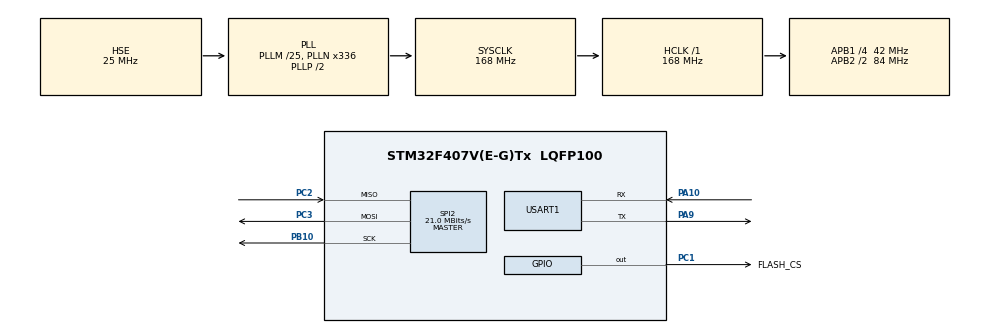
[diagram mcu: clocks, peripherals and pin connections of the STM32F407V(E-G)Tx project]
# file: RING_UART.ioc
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Dma.Request0=USART1_RX
Dma.USART1_RX.0.Direction=DMA_PERIPH_TO_MEMORY
Dma.USART1_RX.0.FIFOMode=DMA_FIFOMODE_DISABLE
Dma.USART1_RX.0.Instance=DMA2_Stream2
Dma.USART1_RX.0.MemDataAlignment=DMA_MDATAALIGN_BYTE
Dma.USART1_RX.0.MemInc=DMA_MINC_ENABLE
Dma.USART1_RX.0.Mode=DMA_CIRCULAR
Dma.USART1_RX.0.PeriphDataAlignment=DMA_PDATAALIGN_BYTE
Dma.USART1_RX.0.PeriphInc=DMA_PINC_DISABLE
Dma.USART1_RX.0.Priority=DMA_PRIORITY_LOW
Mcu.Family=STM32F4
Mcu.Name=STM32F407V(E-G)Tx
Mcu.Package=LQFP100
NVIC.DMA2_Stream2_IRQn=true\:0\:0\:false\:false\:true\:false\:true\:true
NVIC.PriorityGroup=NVIC_PRIORITYGROUP_4
NVIC.USART1_IRQn=true\:0\:0\:false\:false\:true\:true\:true\:true
PA10.Mode=Asynchronous
PA10.Signal=USART1_RX
PA13.Mode=Serial_Wire
PA13.Signal=SYS_JTMS-SWDIO
PA14.Mode=Serial_Wire
PA14.Signal=SYS_JTCK-SWCLK
PA9.Mode=Asynchronous
PA9.Signal=USART1_TX
PB10.Mode=Full_Duplex_Master
PB10.Signal=SPI2_SCK
PC1.GPIO_Label=FLASH_CS
PC1.GPIO_PuPd=GPIO_PULLUP
PC1.Signal=GPIO_Output
PC2.Mode=Full_Duplex_Master
PC2.Signal=SPI2_MISO
PC3.Mode=Full_Duplex_Master
PC3.Signal=SPI2_MOSI
PH0-OSC_IN.Mode=HSE-External-Oscillator
PH0-OSC_IN.Signal=RCC_OSC_IN
PH1-OSC_OUT.Mode=HSE-External-Oscillator
PH1-OSC_OUT.Signal=RCC_OSC_OUT
ProjectManager.HeapSize=0x200
ProjectManager.StackSize=0x400
ProjectManager.TargetToolchain=CMake
RCC.48MHZClocksFreq_Value=84000000
RCC.AHBFreq_Value=168000000
RCC.APB1CLKDivider=RCC_HCLK_DIV4
RCC.APB1Freq_Value=42000000
RCC.APB1TimFreq_Value=84000000
RCC.APB2CLKDivider=RCC_HCLK_DIV2
RCC.APB2Freq_Value=84000000
RCC.APB2TimFreq_Value=168000000
RCC.CortexFreq_Value=168000000
RCC.HCLKFreq_Value=168000000
RCC.HSE_VALUE=25000000
RCC.HSI_VALUE=16000000
RCC.LSE_VALUE=32768
RCC.PLLM=25
RCC.PLLN=336
RCC.PLLSourceVirtual=RCC_PLLSOURCE_HSE
RCC.SYSCLKFreq_VALUE=168000000
RCC.SYSCLKSource=RCC_SYSCLKSOURCE_PLLCLK
RCC.VCOOutputFreq_Value=336000000
SPI2.CalculateBaudRate=21.0 MBits/s
SPI2.Direction=SPI_DIRECTION_2LINES
SPI2.Mode=SPI_MODE_MASTER
SPI2.VirtualType=VM_MASTER
USART1.VirtualMode=VM_ASYNC
board=custom

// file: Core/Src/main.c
/* USER CODE BEGIN Header */
/**
  ******************************************************************************
  * @file           : main.c
  * @brief          : Main program body
  ******************************************************************************
  * @attention
  *
  * Copyright (c) 2026 STMicroelectronics.
  * All rights reserved.
  *
  * This software is licensed under terms that can be found in the LICENSE file
  * in the root directory of this software component.
  * If no LICENSE file comes with this software, it is provided AS-IS.
  *
  ******************************************************************************
  */
/* USER CODE END Header */
#include "main.h"
#include "dma.h"
#include "spi.h"
#include "usart.h"
#include "gpio.h"

/* USER CODE BEGIN Includes */
#include "retarget.h"
#include "ringbuff.h"
#include "nand_base.h"
/* USER CODE END Includes */

void SystemClock_Config(void);

/* USER CODE BEGIN 0 */
uint8_t dma_buffer[256];
ringbuf_t ring_buff;
static uint16_t old_pos = 0;
void HAL_UARTEx_RxEventCallback(UART_HandleTypeDef *huart, uint16_t Size)
{
  uint16_t new_pos = Size;
  if(new_pos > old_pos)
  {
    ringbuf_write(&ring_buff, &dma_buffer[old_pos], new_pos - old_pos);
  }
  else
  {
    ringbuf_write(&ring_buff, &dma_buffer[old_pos], 256 - old_pos);
    ringbuf_write(&ring_buff, &dma_buffer[0], new_pos);
  }
}

/* USER CODE END 0 */

int main(void)
{

  /* MCU Configuration--------------------------------------------------------*/

  /* Reset of all peripherals, Initializes the Flash interface and the Systick. */
  HAL_Init();

  /* Configure the system clock */
  SystemClock_Config();

  /* Initialize all configured peripherals */
  MX_GPIO_Init();
  MX_DMA_Init();
  MX_USART1_UART_Init();
  MX_SPI2_Init();
  /* USER CODE BEGIN 2 */

  RetargetInit(&huart1);

  HAL_UARTEx_ReceiveToIdle_DMA(&huart1, dma_buffer, sizeof(dma_buffer));
  // __HAL_DMA_DISABLE_IT(huart1.hdmarx, DMA_IT_HT);
  // char buff[100];
  // char bytschar;
  // printf("asd\r\n");
  nand_spi_base_t nand_base = {
    .cs_pin =  FLASH_CS_Pin,
    .cs_port = FLASH_CS_GPIO_Port,
    .name = "flash1",
    .hspi =  &hspi2,
  };

  if (NAND_FLASH_Init(&nand_base) != HAL_OK)
  {
    Error_Handler();
  }

  NAND_FLASH_ReadID(&nand_base);

  uint32_t test_block = 0U;
  uint8_t is_bad_block = 0U;
  if (NAND_FLASH_IsBadBlockByIndex(&nand_base, test_block, &is_bad_block) != HAL_OK)
  {
    Error_Handler();
  }

  printf("block %lu is %s\r\n",
         (unsigned long)test_block,
         is_bad_block ? "bad" : "good");

  if (is_bad_block != 0U)
  {
    if (NAND_FLASH_FindGoodBlock(&nand_base, test_block + 1U, &test_block) != HAL_OK)
    {
      Error_Handler();
    }

    printf("use good block %lu instead\r\n", (unsigned long)test_block);
  }

  printf("start erase block %lu\r\n", (unsigned long)test_block);
  if (NAND_FLASH_EraseBlockByIndex(&nand_base, test_block) != HAL_OK)
  {
    Error_Handler();
  }

  printf("erase block %lu finished\r\n", (unsigned long)test_block);
  static uint8_t write_buff[2048] = {0};
  for (uint16_t i = 0; i < 2048; i++) {
      write_buff[i] = i % 255;
  }

  uint32_t test_page = (test_block * NAND_FLASH_PAGES_PER_BLOCK) + 1U;

  printf("start write page %lu\r\n", (unsigned long)test_page);
  if (NAND_FLASH_ProgramPage(&nand_base, test_page, write_buff, 2048) != HAL_OK)
  {
    Error_Handler();
  }

  printf("write page %lu finished\r\n", (unsigned long)test_page);

  static uint8_t read_buff[2048] = {0};

  printf("start read page %lu\r\n", (unsigned long)test_page);
  if (NAND_FLASH_ReadPage(&nand_base, test_page, read_buff, 2048) != HAL_OK)
  {
    Error_Handler();
  }
  uint32_t count1 = 0;
  for (uint32_t j = 0; j < 2048 ; j++) {
    if (write_buff[j] == read_buff[j]) {
      count1++;
    }
  }
  printf("read block 0 finished\r\n");
  printf("count =  %u \r\n", count1);

  NAND_FLASH_EraseBlockByIndex(&nand_base, 0);

  if (NAND_FLASH_ReadPage(&nand_base, test_page, read_buff, 2048) != HAL_OK)
  {
    Error_Handler();
  }

  count1 = 0;
  for (uint32_t j = 0; j < 2048 ; j++) {
    if (write_buff[j] == read_buff[j]) {
      // printf("")
      count1++;
    }
  }
  printf("count =  %u \r\n", count1);
  printf("count =  %u \r\n", read_buff[0]);

  NAND_FLASH_ProgramPage(&nand_base, test_page, write_buff, 2048);

  NAND_FLASH_ReadPage(&nand_base, test_page, read_buff, 2048);
  printf("count =  %u \r\n", read_buff[1]);

  /* USER CODE END 2 */

  /* Infinite loop */
  /* USER CODE BEGIN WHILE */
  while (1)
  {
    // NADN_FLASH_READ_STATUS(&nand_base);
    HAL_Delay(10);
    /* USER CODE END WHILE */

    /* USER CODE BEGIN 3 */
    // scanf("%s", buff);
    // printf("Hello Worl .%s r\r\n", buff);
    // HAL_Delay(1000);
  }
  /* USER CODE END 3 */
}

void SystemClock_Config(void)
{
  RCC_OscInitTypeDef RCC_OscInitStruct = {0};
  RCC_ClkInitTypeDef RCC_ClkInitStruct = {0};

  /** Configure the main internal regulator output voltage
  */
  __HAL_RCC_PWR_CLK_ENABLE();
  __HAL_PWR_VOLTAGESCALING_CONFIG(PWR_REGULATOR_VOLTAGE_SCALE1);

  /** Initializes the RCC Oscillators according to the specified parameters
  * in the RCC_OscInitTypeDef structure.
  */
  RCC_OscInitStruct.OscillatorType = RCC_OSCILLATORTYPE_HSE;
  RCC_OscInitStruct.HSEState = RCC_HSE_ON;
  RCC_OscInitStruct.PLL.PLLState = RCC_PLL_ON;
  RCC_OscInitStruct.PLL.PLLSource = RCC_PLLSOURCE_HSE;
  RCC_OscInitStruct.PLL.PLLM = 25;
  RCC_OscInitStruct.PLL.PLLN = 336;
  RCC_OscInitStruct.PLL.PLLP = RCC_PLLP_DIV2;
  RCC_OscInitStruct.PLL.PLLQ = 4;
  if (HAL_RCC_OscConfig(&RCC_OscInitStruct) != HAL_OK)
  {
    Error_Handler();
  }

  /** Initializes the CPU, AHB and APB buses clocks
  */
  RCC_ClkInitStruct.ClockType = RCC_CLOCKTYPE_HCLK|RCC_CLOCKTYPE_SYSCLK
                              |RCC_CLOCKTYPE_PCLK1|RCC_CLOCKTYPE_PCLK2;
  RCC_ClkInitStruct.SYSCLKSource = RCC_SYSCLKSOURCE_PLLCLK;
  RCC_ClkInitStruct.AHBCLKDivider = RCC_SYSCLK_DIV1;
  RCC_ClkInitStruct.APB1CLKDivider = RCC_HCLK_DIV4;
  RCC_ClkInitStruct.APB2CLKDivider = RCC_HCLK_DIV2;

  if (HAL_RCC_ClockConfig(&RCC_ClkInitStruct, FLASH_LATENCY_5) != HAL_OK)
  {
    Error_Handler();
  }
}

void Error_Handler(void)
{
  __disable_irq();
  while (1)
  {
  }
}
